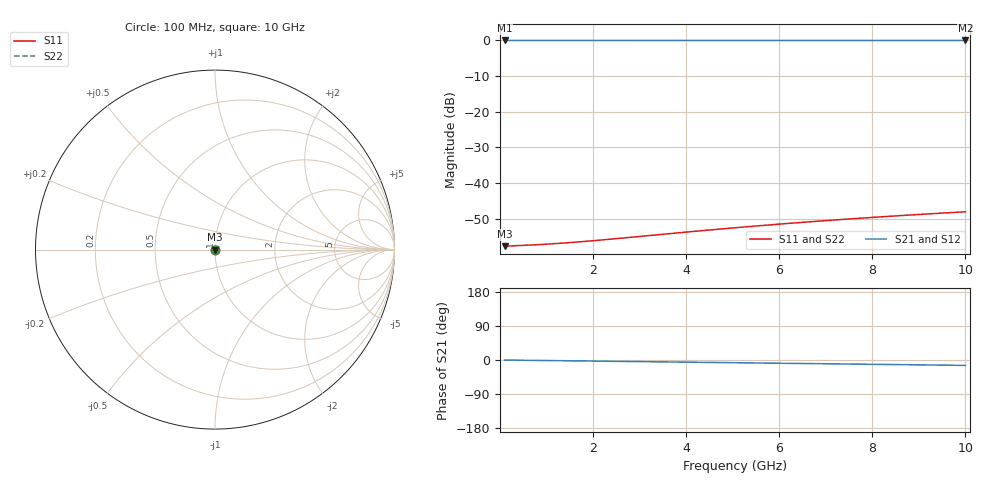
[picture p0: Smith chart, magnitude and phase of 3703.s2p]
# Hz S RI R 50.00
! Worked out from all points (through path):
!   100 points, 100 MHz to 10 GHz, reference 50 ohm
!   highest |S21| = -0.01 dB at 100 MHz (marker M1); lowest = 0.0 dB at 10 GHz (marker M2)
!   group delay of S21, straight-line fit = 3.96 ps
!   lowest |S11| = -57.7 dB at 100 MHz (marker M3), VSWR 1.00, Z = 50.1 + j0.00361 ohm
!   |S11| at or under -10 dB: start of sweep to end of sweep
!   |S22| runs from -57.7 to -48.0 dB; largest |S21 - S12| = 0
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1e8  0.00131 3.6e-05  0.9987 -0.00247  0.9987 -0.00247  0.00131 3.6e-05
6e8  0.00133 0.000216  0.9985 -0.0148  0.9985 -0.0148  0.00133 0.000216
8e8  0.00134 0.000287  0.9985 -0.0198  0.9985 -0.0198  0.00134 0.000287
1e9  0.00135 0.000358  0.9983 -0.0247  0.9983 -0.0247  0.00135 0.000358
1.2e9  0.00135 0.00043  0.9982 -0.0297  0.9982 -0.0297  0.00135 0.00043
1.4e9  0.00136 0.000501  0.998 -0.0346  0.998 -0.0346  0.00136 0.000501
1.8e9  0.00138 0.000642  0.9976 -0.0445  0.9976 -0.0445  0.00138 0.000642
2.1e9  0.00139 0.000747  0.9972 -0.0519  0.9972 -0.0519  0.00139 0.000747
2.4e9  0.0014 0.000852  0.9968 -0.0594  0.9968 -0.0594  0.0014 0.000852
3.4e9  0.00146 0.0012  0.995 -0.0841  0.995 -0.0841  0.00146 0.0012
4.3e9  0.00153 0.0015  0.9929 -0.1063  0.9929 -0.1063  0.00153 0.0015
4.7e9  0.00156 0.00163  0.9917 -0.1161  0.9917 -0.1161  0.00156 0.00163
5.1e9  0.0016 0.00177  0.9905 -0.126  0.9905 -0.126  0.0016 0.00177
5.5e9  0.00164 0.0019  0.9892 -0.1358  0.9892 -0.1358  0.00164 0.0019
5.9e9  0.00168 0.00202  0.9878 -0.1456  0.9878 -0.1456  0.00168 0.00202
6.3e9  0.00172 0.00215  0.9863 -0.1555  0.9863 -0.1555  0.00172 0.00215
6.7e9  0.00177 0.00228  0.9847 -0.1653  0.9847 -0.1653  0.00177 0.00228
7.5e9  0.00187 0.00253  0.9812 -0.1849  0.9812 -0.1849  0.00187 0.00253
7.9e9  0.00192 0.00265  0.9793 -0.1946  0.9793 -0.1946  0.00192 0.00265
8.4e9  0.00199 0.0028  0.9768 -0.2068  0.9768 -0.2068  0.00199 0.0028
9.2e9  0.00211 0.00304  0.9724 -0.2263  0.9724 -0.2263  0.00211 0.00304
1e10  0.00224 0.00327  0.9677 -0.2456  0.9677 -0.2456  0.00224 0.00327
